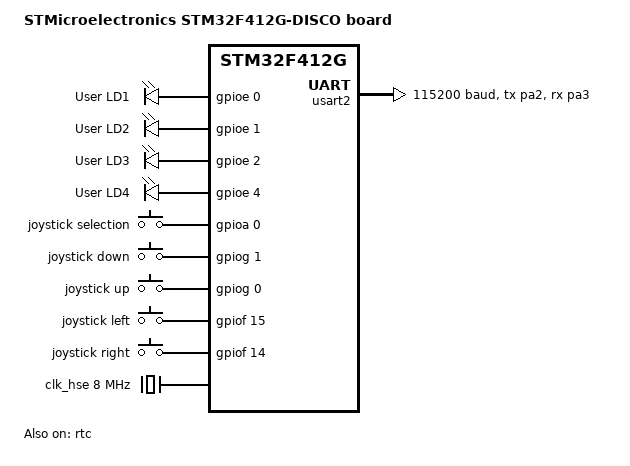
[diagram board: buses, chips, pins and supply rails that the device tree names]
/*
 * Copyright (c) 2017 Powersoft
 *
 * SPDX-License-Identifier: Apache-2.0
 */

/dts-v1/;
#include <st/f4/stm32f412Xg.dtsi>
#include <st/f4/stm32f412z(e-g)tx-pinctrl.dtsi>

/ {
	model = "STMicroelectronics STM32F412G-DISCO board";
	compatible = "st,stm32f412g-disco";

	chosen {
		zephyr,console = &usart2;
		zephyr,shell-uart = &usart2;
		zephyr,sram = &sram0;
		zephyr,flash = &flash0;
	};

	leds {
		compatible = "gpio-leds";
		green_led_1: led_1 {
			gpios = <&gpioe 0 GPIO_ACTIVE_HIGH>;
			label = "User LD1";
		};
		orange_led_2: led_2 {
			gpios = <&gpioe 1 GPIO_ACTIVE_HIGH>;
			label = "User LD2";
		};
		red_led_3: led_3 {
			gpios = <&gpioe 2 GPIO_ACTIVE_HIGH>;
			label = "User LD3";
		};
		blue_led_4: led_4 {
			gpios = <&gpioe 4 GPIO_ACTIVE_HIGH>;
			label = "User LD4";
		};
	};

	gpio_keys {
		compatible = "gpio-keys";
		joy_sel: joystick_selection {
			label = "joystick selection";
			gpios = <&gpioa 0 (GPIO_ACTIVE_HIGH | GPIO_PULL_DOWN)>;
		};
		joy_down: joystick_down {
			label = "joystick down";
			gpios = <&gpiog 1 (GPIO_ACTIVE_HIGH | GPIO_PULL_DOWN)>;
		};
		joy_up: joystick_up {
			label = "joystick up";
			gpios = <&gpiog 0 (GPIO_ACTIVE_HIGH | GPIO_PULL_DOWN)>;
		};
		joy_left: joystick_left {
			label = "joystick left";
			gpios = <&gpiof 15 (GPIO_ACTIVE_HIGH | GPIO_PULL_DOWN)>;
		};
		joy_right: joystick_right {
			label = "joystick right";
			gpios = <&gpiof 14 (GPIO_ACTIVE_HIGH | GPIO_PULL_DOWN)>;
		};
	};

	aliases {
		led0 = &green_led_1;
		led1 = &orange_led_2;
		led2 = &red_led_3;
		led3 = &blue_led_4;
		sw0 = &joy_sel;
	};
};

&clk_hse {
	hse-bypass;
	clock-frequency = <DT_FREQ_M(8)>; /* STLink 8MHz clock */
	status = "okay";
};

&pll {
	div-m = <4>;
	mul-n = <100>;
	div-p = <2>;
	div-q = <8>;
	clocks = <&clk_hse>;
	status = "okay";
};

&rcc {
	clocks = <&pll>;
	clock-frequency = <DT_FREQ_M(100)>;
	ahb-prescaler = <1>;
	apb1-prescaler = <2>;
	apb2-prescaler = <1>;
};

&usart2 {
	pinctrl-0 = <&usart2_tx_pa2 &usart2_rx_pa3>;
	current-speed = <115200>;
	status = "okay";
};

&rtc {
	status = "okay";
};
